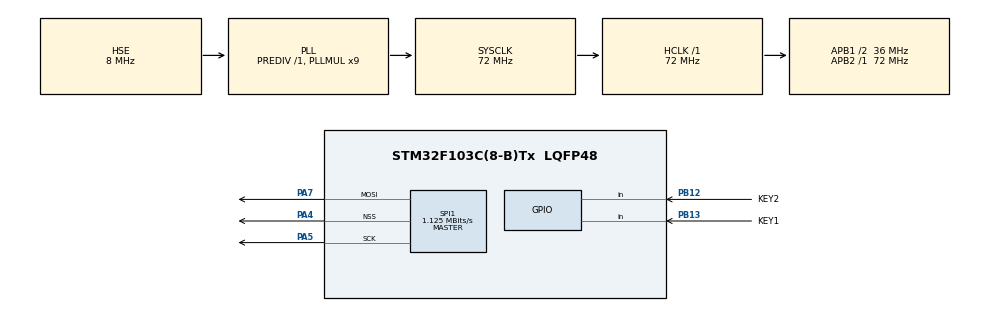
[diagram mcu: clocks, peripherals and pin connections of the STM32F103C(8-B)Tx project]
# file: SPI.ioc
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Mcu.Family=STM32F1
Mcu.Name=STM32F103C(8-B)Tx
Mcu.Package=LQFP48
NVIC.PriorityGroup=NVIC_PRIORITYGROUP_4
PA4.Mode=NSS_Signal_Hard_Output
PA4.Signal=SPI1_NSS
PA5.Mode=TX_Only_Simplex_Unidirect_Master
PA5.Signal=SPI1_SCK
PA7.Mode=TX_Only_Simplex_Unidirect_Master
PA7.Signal=SPI1_MOSI
PB12.GPIO_Label=KEY2
PB12.GPIO_PuPd=GPIO_PULLUP
PB12.Signal=GPIO_Input
PB13.GPIO_Label=KEY1
PB13.GPIO_PuPd=GPIO_PULLUP
PB13.Signal=GPIO_Input
PD0-OSC_IN.Mode=HSE-External-Oscillator
PD0-OSC_IN.Signal=RCC_OSC_IN
PD1-OSC_OUT.Mode=HSE-External-Oscillator
PD1-OSC_OUT.Signal=RCC_OSC_OUT
ProjectManager.HeapSize=0x200
ProjectManager.StackSize=0x400
ProjectManager.TargetToolchain=STM32CubeIDE
RCC.AHBFreq_Value=72000000
RCC.APB1CLKDivider=RCC_HCLK_DIV2
RCC.APB1Freq_Value=36000000
RCC.APB1TimFreq_Value=72000000
RCC.APB2Freq_Value=72000000
RCC.APB2TimFreq_Value=72000000
RCC.HCLKFreq_Value=72000000
RCC.PLLMUL=RCC_PLL_MUL9
RCC.PLLSourceVirtual=RCC_PLLSOURCE_HSE
RCC.SYSCLKFreq_VALUE=72000000
RCC.SYSCLKSource=RCC_SYSCLKSOURCE_PLLCLK
RCC.USBFreq_Value=72000000
SPI1.BaudRatePrescaler=SPI_BAUDRATEPRESCALER_64
SPI1.CalculateBaudRate=1.125 MBits/s
SPI1.Direction=SPI_DIRECTION_2LINES
SPI1.Mode=SPI_MODE_MASTER
SPI1.VirtualNSS=VM_NSSHARD
SPI1.VirtualType=VM_MASTER
VP_SYS_VS_ND.Mode=No_Debug
board=custom

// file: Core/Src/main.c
/* USER CODE BEGIN Header */
/**
  ******************************************************************************
  * @file           : main.c
  * @brief          : Main program body
  ******************************************************************************
  * @attention
  *
  * Copyright (c) 2026 STMicroelectronics.
  * All rights reserved.
  *
  * This software is licensed under terms that can be found in the LICENSE file
  * in the root directory of this software component.
  * If no LICENSE file comes with this software, it is provided AS-IS.
  *
  ******************************************************************************
  */
/* USER CODE END Header */
#include "main.h"

SPI_HandleTypeDef hspi1;

/* USER CODE BEGIN PV */
uint8_t cmd;
/* USER CODE END PV */

void SystemClock_Config(void);
static void MX_GPIO_Init(void);
static void MX_SPI1_Init(void);

/* USER CODE BEGIN 0 */
#define SPI_TIMEOUT 1000

HAL_StatusTypeDef SPI_Master_Send(uint8_t *pData, uint16_t size)
{
    HAL_StatusTypeDef status;

    HAL_GPIO_WritePin(GPIOA, GPIO_PIN_4, GPIO_PIN_RESET);   // CS low
    status = HAL_SPI_Transmit(&hspi1, pData, size, SPI_TIMEOUT);
    HAL_GPIO_WritePin(GPIOA, GPIO_PIN_4, GPIO_PIN_SET);     // CS high

    return status;
}
/* USER CODE END 0 */

int main(void)
{

  /* MCU Configuration--------------------------------------------------------*/

  /* Reset of all peripherals, Initializes the Flash interface and the Systick. */
  HAL_Init();

  /* Configure the system clock */
  SystemClock_Config();

  /* Initialize all configured peripherals */
  MX_GPIO_Init();
  MX_SPI1_Init();
  /* USER CODE BEGIN 2 */
  HAL_GPIO_WritePin(GPIOA, GPIO_PIN_4, GPIO_PIN_SET);         // CS idle high
  /* USER CODE END 2 */

  /* Infinite loop */
  while (1)
  {

    /* USER CODE BEGIN 3 */
  } if (HAL_GPIO_ReadPin(GPIOB, GPIO_PIN_13) == GPIO_PIN_RESET)   // KEY1
  {
      HAL_Delay(20);
      cmd = 0x01;
      SPI_Master_Send(&cmd, 1);
      while (HAL_GPIO_ReadPin(GPIOB, GPIO_PIN_13) == GPIO_PIN_RESET);   // wait release
  }

  if (HAL_GPIO_ReadPin(GPIOB, GPIO_PIN_12) == GPIO_PIN_RESET)   // KEY2
  {
      HAL_Delay(20);
      cmd = 0x02;
      SPI_Master_Send(&cmd, 1);
      while (HAL_GPIO_ReadPin(GPIOB, GPIO_PIN_12) == GPIO_PIN_RESET);   // wait release
  }
}
  /* USER CODE END 3 */

void SystemClock_Config(void)
{
  RCC_OscInitTypeDef RCC_OscInitStruct = {0};
  RCC_ClkInitTypeDef RCC_ClkInitStruct = {0};

  /** Initializes the RCC Oscillators according to the specified parameters
  * in the RCC_OscInitTypeDef structure.
  */
  RCC_OscInitStruct.OscillatorType = RCC_OSCILLATORTYPE_HSE;
  RCC_OscInitStruct.HSEState = RCC_HSE_ON;
  RCC_OscInitStruct.HSEPredivValue = RCC_HSE_PREDIV_DIV1;
  RCC_OscInitStruct.HSIState = RCC_HSI_ON;
  RCC_OscInitStruct.PLL.PLLState = RCC_PLL_ON;
  RCC_OscInitStruct.PLL.PLLSource = RCC_PLLSOURCE_HSE;
  RCC_OscInitStruct.PLL.PLLMUL = RCC_PLL_MUL9;
  if (HAL_RCC_OscConfig(&RCC_OscInitStruct) != HAL_OK)
  {
    Error_Handler();
  }

  /** Initializes the CPU, AHB and APB buses clocks
  */
  RCC_ClkInitStruct.ClockType = RCC_CLOCKTYPE_HCLK|RCC_CLOCKTYPE_SYSCLK
                              |RCC_CLOCKTYPE_PCLK1|RCC_CLOCKTYPE_PCLK2;
  RCC_ClkInitStruct.SYSCLKSource = RCC_SYSCLKSOURCE_PLLCLK;
  RCC_ClkInitStruct.AHBCLKDivider = RCC_SYSCLK_DIV1;
  RCC_ClkInitStruct.APB1CLKDivider = RCC_HCLK_DIV2;
  RCC_ClkInitStruct.APB2CLKDivider = RCC_HCLK_DIV1;

  if (HAL_RCC_ClockConfig(&RCC_ClkInitStruct, FLASH_LATENCY_2) != HAL_OK)
  {
    Error_Handler();
  }
}

static void MX_SPI1_Init(void)
{

  /* SPI1 parameter configuration*/
  hspi1.Instance = SPI1;
  hspi1.Init.Mode = SPI_MODE_MASTER;
  hspi1.Init.Direction = SPI_DIRECTION_2LINES;
  hspi1.Init.DataSize = SPI_DATASIZE_8BIT;
  hspi1.Init.CLKPolarity = SPI_POLARITY_LOW;
  hspi1.Init.CLKPhase = SPI_PHASE_1EDGE;
  hspi1.Init.NSS = SPI_NSS_HARD_OUTPUT;
  hspi1.Init.BaudRatePrescaler = SPI_BAUDRATEPRESCALER_64;
  hspi1.Init.FirstBit = SPI_FIRSTBIT_MSB;
  hspi1.Init.TIMode = SPI_TIMODE_DISABLE;
  hspi1.Init.CRCCalculation = SPI_CRCCALCULATION_DISABLE;
  hspi1.Init.CRCPolynomial = 10;
  if (HAL_SPI_Init(&hspi1) != HAL_OK)
  {
    Error_Handler();
  }

}

static void MX_GPIO_Init(void)
{
  GPIO_InitTypeDef GPIO_InitStruct = {0};

  /* GPIO Ports Clock Enable */
  __HAL_RCC_GPIOD_CLK_ENABLE();
  __HAL_RCC_GPIOA_CLK_ENABLE();
  __HAL_RCC_GPIOB_CLK_ENABLE();

  /*Configure GPIO pins : KEY2_Pin KEY1_Pin */
  GPIO_InitStruct.Pin = KEY2_Pin|KEY1_Pin;
  GPIO_InitStruct.Mode = GPIO_MODE_INPUT;
  GPIO_InitStruct.Pull = GPIO_PULLUP;
  HAL_GPIO_Init(GPIOB, &GPIO_InitStruct);

}

void Error_Handler(void)
{
  __disable_irq();
  while (1)
  {
  }
}
